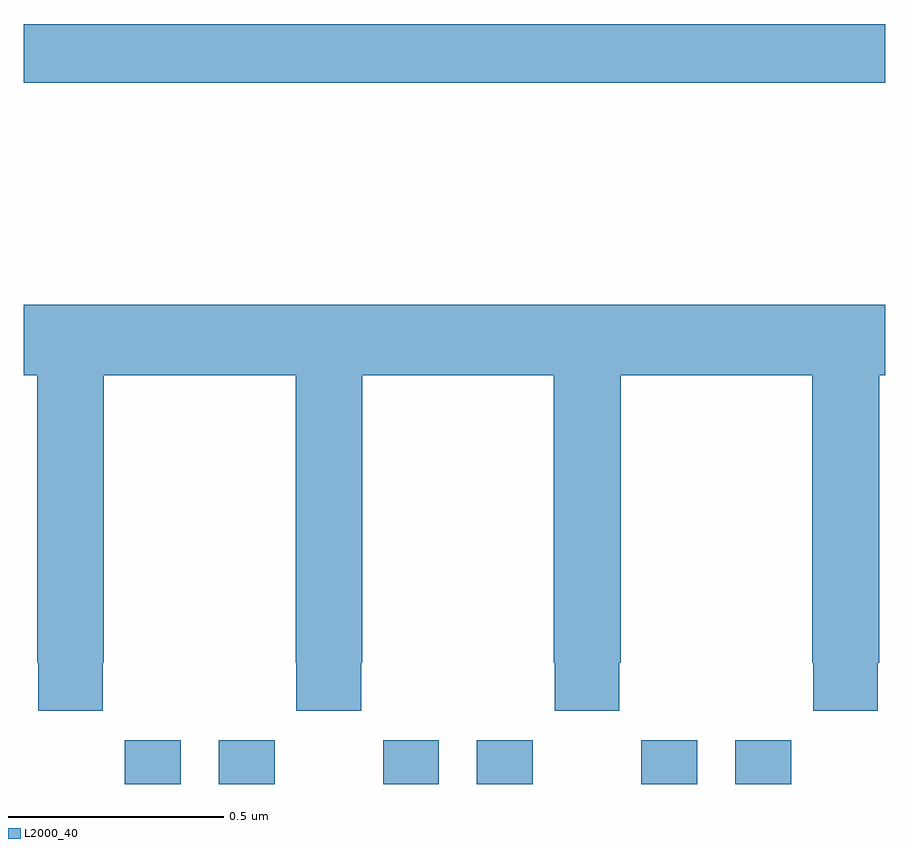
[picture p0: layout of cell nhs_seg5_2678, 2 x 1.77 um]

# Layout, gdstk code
import gdstk
lib = gdstk.Library(unit=1e-6, precision=1e-09)
def R(c, l, rs):  # rectangles x0, y0, x1, y1
    for r in rs: c.add(gdstk.rectangle(r[:2], r[2:], *l))
def P(c, l, *ps):  # polygons
    for p in ps: c.add(gdstk.Polygon(p, *l))
L2000_40 = (2000, 40)

nhs_seg5_2678 = lib.new_cell('nhs_seg5_2678')
R(nhs_seg5_2678, L2000_40, [(147.234,867.799,147.364,867.901), (147.452,867.799,147.582,867.901), (147.834,867.799,147.964,867.901), (148.052,867.799,148.182,867.901), (148.434,867.799,148.564,867.901), (148.652,867.799,148.782,867.901), (147,869.428,149,869.564)])
P(nhs_seg5_2678, L2000_40, [(147.183,868.081),(147.186,868.081),(147.186,868.748),(147.631,868.748),(147.631,868.081),(147.633,868.081),(147.633,867.969),(147.783,867.969),(147.783,868.081),(147.786,868.081),(147.786,868.748),(148.231,868.748),(148.231,868.081),(148.233,868.081),(148.233,867.969),(148.383,867.969),(148.383,868.081),(148.386,868.081),(148.386,868.748),(148.831,868.748),(148.831,868.081),(148.833,868.081),(148.833,867.969),(148.983,867.969),(148.983,868.081),(148.986,868.081),(148.986,868.748),(149,868.748),(149,868.912),(147,868.912),(147,868.748),(147.031,868.748),(147.031,868.081),(147.033,868.081),(147.033,867.969),(147.183,867.969)])

lib.write_gds('nhs_seg5_2678.gds')
